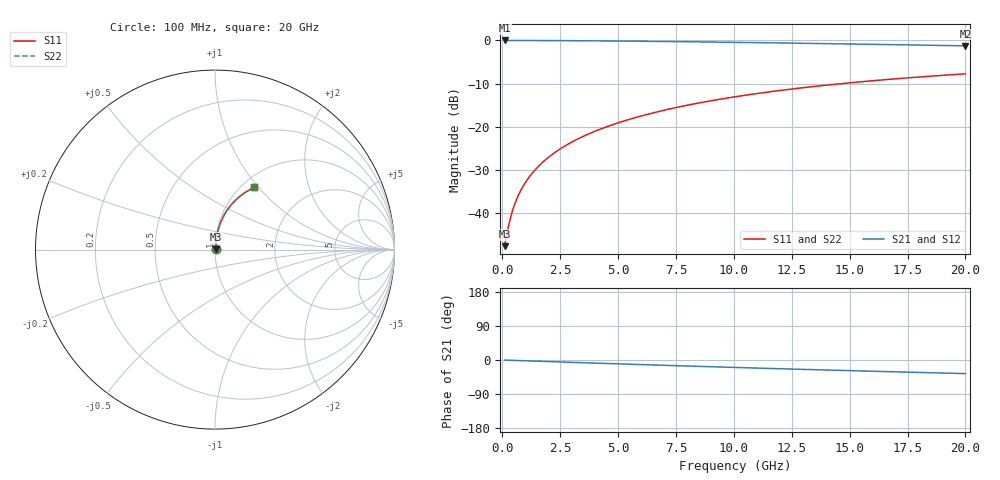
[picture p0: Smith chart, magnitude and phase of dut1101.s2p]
! Touchstone file exported from HFSS 2024.1.0
!  File:  C:/UserFiles/LocalFiles/RDL_TSV_Batchsim/temp_RDL_bottom_1101_1780054024.aedt
!  Generated:  07:29:41 PM May 29, 2026
!  Design:  RDL_bottom
!  Project:  temp_RDL_bottom_1101_1780054024
!  Setup:  Setup1
!  Solution:  Sweep
! Variables:
!  dtsv = 10.80580581um
!  hbump = 3um
!  htsv = 96.35um
!  ldown = 427.08um
!  lrdl = 100um
!  p = 40
!  p1 = 55.93um
!  rhole = 1um
!  t = 450um
!  tdown = 2.91um
!  trdl = 3.915915916um
!  wdown = 15.85um
!  wrdl = 20um
# GHz S MA R 50.000000
! Terminal data exported
! Port[1] = RDL1_T1
! Port[2] = RDL1_T2
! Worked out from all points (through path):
!   200 points, 100 MHz to 20 GHz, reference 50 ohm
!   highest |S21| = -0.03 dB at 100 MHz (marker M1); lowest = -1.3 dB at 20 GHz (marker M2)
!   group delay of S21, straight-line fit = 4.98 ps
!   lowest |S11| = -47.6 dB at 100 MHz (marker M3), VSWR 1.01, Z = 50.3 + j0.233 ohm
!   |S11| at or under -10 dB: start of sweep to 14.67 GHz
!   |S22| runs from -47.6 to -7.7 dB; largest |S21 - S12| = 2e-15
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0.1  0.004161 33.8  0.9965 -0.2  0.9965 -0.2  0.004161 33.8
! Gamma 0 0 0 0
! Port Impedance 50 0 50 0
0.2  0.005808 52.6  0.9965 -0.4  0.9965 -0.4  0.005808 52.6
0.3  0.007782 62.2  0.9964 -0.6  0.9964 -0.6  0.007782 62.2
0.4  0.009864 67.7  0.9962 -0.9  0.9962 -0.9  0.009864 67.7
0.5  0.01198 71.1  0.9961 -1.1  0.9961 -1.1  0.01198 71.1
0.6  0.01412 73.5  0.996 -1.3  0.996 -1.3  0.01412 73.5
0.8  0.01841 76.6  0.9957 -1.7  0.9957 -1.7  0.01841 76.6
1.1  0.02488 79.2  0.9952 -2.3  0.9952 -2.3  0.02488 79.2
1.5  0.03357 81.0  0.9945 -3.1  0.9945 -3.1  0.03357 81.0
1.8  0.04013 81.7  0.9939 -3.7  0.9939 -3.7  0.04013 81.7
2.1  0.04671 82.1  0.9932 -4.4  0.9932 -4.4  0.04671 82.1
2.7  0.05993 82.3  0.9914 -5.6  0.9914 -5.6  0.05993 82.3
3.5  0.07765 82.1  0.9886 -7.2  0.9886 -7.2  0.07765 82.1
4.2  0.09323 81.5  0.9856 -8.6  0.9856 -8.6  0.09323 81.5
5  0.1111 80.7  0.9817 -10.2  0.9817 -10.2  0.1111 80.7
5.9  0.1312 79.6  0.9767 -12.0  0.9767 -12.0  0.1312 79.6
6.8  0.1512 78.4  0.9712 -13.7  0.9712 -13.7  0.1512 78.4
8.4  0.1866 76.0  0.9604 -16.7  0.9604 -16.7  0.1866 76.0
10.1  0.2234 73.3  0.9478 -19.8  0.9478 -19.8  0.2234 73.3
13.4  0.2915 68.0  0.9211 -25.5  0.9211 -25.5  0.2915 68.0
16.7  0.3538 62.7  0.8926 -30.8  0.8926 -30.8  0.3539 62.7
20  0.4097 57.6  0.8632 -35.9  0.8632 -35.9  0.4098 57.7
